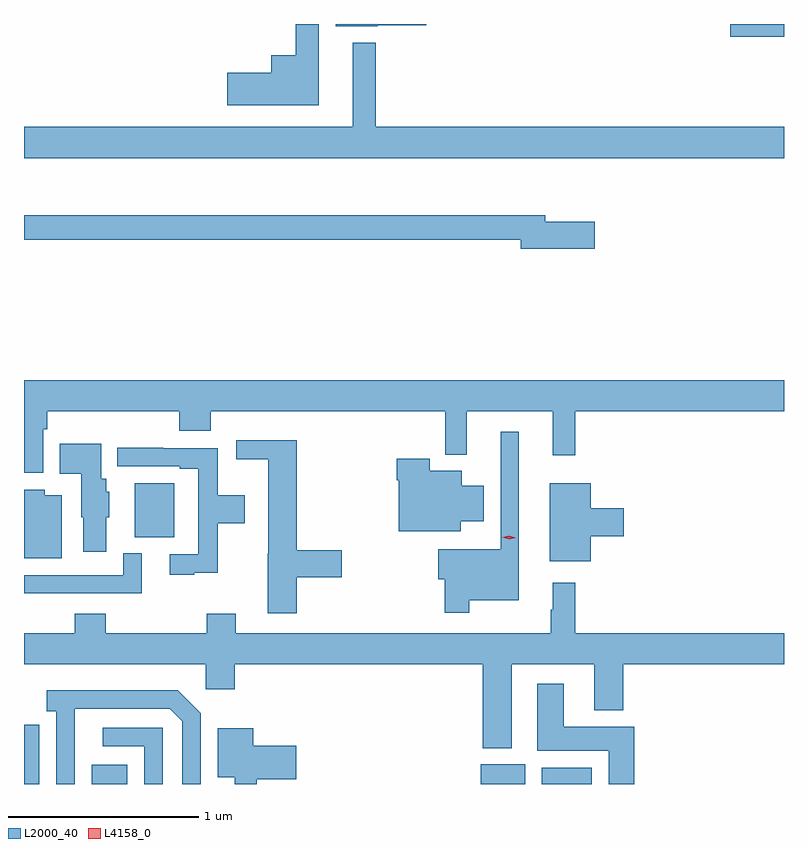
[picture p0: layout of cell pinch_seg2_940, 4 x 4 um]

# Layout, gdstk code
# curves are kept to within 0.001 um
import gdstk
lib = gdstk.Library(unit=1e-6, precision=1e-09)
def R(c, l, rs):  # rectangles x0, y0, x1, y1
    for r in rs: c.add(gdstk.rectangle(r[:2], r[2:], *l))
def P(c, l, *ps):  # polygons
    for p in ps: c.add(gdstk.Polygon(p, *l))
L2000_40 = (2000, 40)
L4158_0 = (4158, 0)

pinch_seg2_940 = lib.new_cell('pinch_seg2_940')
R(pinch_seg2_940, L2000_40, [(338.243,649.67,338.431,649.771), (340.292,649.67,340.525,649.774), (340.613,649.67,340.876,649.756), (338.471,650.969,338.677,651.253), (341.604,653.602,341.887,653.67)])
P(pinch_seg2_940, L2000_40, [(339.75,653.663),(340.003,653.663),(340.003,653.67),(339.527,653.67),(339.527,653.657),(339.75,653.657)],
  [(339.439,653.67),(339.318,653.67),(339.318,653.506),(339.188,653.506),(339.188,653.414),(338.958,653.414),(338.958,653.243),(339.439,653.243)],
  [(341.887,653.128),(339.739,653.128),(339.739,653.572),(339.617,653.572),(339.617,653.128),(337.887,653.128),(337.887,652.964),(341.887,652.964)],
  [(340.891,652.629),(340.63,652.629),(340.63,652.663),(337.887,652.663),(337.887,652.534),(340.502,652.534),(340.502,652.487),(340.891,652.487)],
  [(337.989,651.536),(338.009,651.536),(338.009,651.632),(338.705,651.632),(338.705,651.53),(338.87,651.53),(338.87,651.632),(340.105,651.632),(340.105,651.404),(340.217,651.404),(340.217,651.632),(340.67,651.632),(340.67,651.399),(340.787,651.399),(340.787,651.632),(341.887,651.632),(341.887,651.796),(337.887,651.796),(337.887,651.309),(337.989,651.309)],
  [(340.231,650.636),(340.492,650.636),(340.492,651.523),(340.395,651.523),(340.395,650.905),(340.068,650.905),(340.068,650.747),(340.102,650.747),(340.102,650.571),(340.231,650.571)],
  [(339.323,650.758),(339.559,650.758),(339.559,650.9),(339.323,650.9),(339.323,651.478),(339.003,651.478),(339.003,651.38),(339.173,651.38),(339.173,650.883),(339.17,650.883),(339.17,650.568),(339.323,650.568)],
  [(338.32,651.075),(338.335,651.075),(338.335,651.207),(338.32,651.207),(338.32,651.276),(338.293,651.276),(338.293,651.46),(338.074,651.46),(338.074,651.302),(338.189,651.302),(338.189,651.075),(338.198,651.075),(338.198,650.892),(338.32,650.892)],
  [(338.783,650.783),(338.906,650.783),(338.906,651.043),(339.049,651.043),(339.049,651.19),(338.906,651.19),(338.906,651.438),(338.621,651.438),(338.621,651.44),(338.379,651.44),(338.379,651.342),(338.708,651.342),(338.708,651.33),(338.805,651.33),(338.805,650.88),(338.655,650.88),(338.655,650.772),(338.783,650.772)],
  [(340.186,651.053),(340.306,651.053),(340.306,651.241),(340.192,651.241),(340.192,651.319),(340.023,651.319),(340.023,651.382),(339.848,651.382),(339.848,651.269),(339.86,651.269),(339.86,650.999),(340.186,650.999)],
  [(340.87,650.975),(341.044,650.975),(341.044,651.122),(340.87,651.122),(340.87,651.253),(340.655,651.253),(340.655,650.843),(340.87,650.843)],
  [(338.086,651.19),(337.996,651.19),(337.996,651.22),(337.887,651.22),(337.887,650.858),(338.086,650.858)],
  [(338.506,650.884),(338.409,650.884),(338.409,650.769),(337.887,650.769),(337.887,650.673),(338.506,650.673)],
  [(340.453,650.3),(340.889,650.3),(340.889,650.057),(341.042,650.057),(341.042,650.3),(341.887,650.3),(341.887,650.464),(340.787,650.464),(340.787,650.728),(340.67,650.728),(340.67,650.588),(340.659,650.588),(340.659,650.464),(339.001,650.464),(339.001,650.566),(338.849,650.566),(338.849,650.464),(338.318,650.464),(338.318,650.566),(338.153,650.566),(338.153,650.464),(337.887,650.464),(337.887,650.3),(338.844,650.3),(338.844,650.169),(338.996,650.169),(338.996,650.3),(340.301,650.3),(340.301,649.859),(340.453,649.859)],
  [(341.099,649.972),(340.729,649.972),(340.729,650.197),(340.589,650.197),(340.589,649.844),(340.964,649.844),(340.964,649.67),(341.099,649.67)],
  [(338.154,649.867),(338.155,650.067),(338.655,650.067),(338.721,650.001),(338.721,649.67),(338.817,649.67),(338.817,650.043),(338.696,650.164),(338.007,650.164),(338.007,650.054),(338.058,650.054),(338.058,649.67),(338.154,649.67)],
  [(337.968,649.874),(337.967,649.874),(337.967,649.983),(337.887,649.983),(337.887,649.67),(337.968,649.67)],
  [(338.616,649.965),(338.301,649.965),(338.301,649.869),(338.52,649.869),(338.52,649.67),(338.616,649.67)],
  [(339.113,649.694),(339.319,649.694),(339.319,649.872),(339.094,649.872),(339.094,649.963),(338.906,649.963),(338.906,649.706),(338.996,649.706),(338.996,649.67),(339.113,649.67)])
P(pinch_seg2_940, L4158_0, [(340.44,650.957),(340.405,650.969),(340.405,650.969),(340.405,650.969),(340.441,650.977),(340.476,650.966),(340.476,650.966),(340.476,650.966)])

lib.write_gds('pinch_seg2_940.gds')
